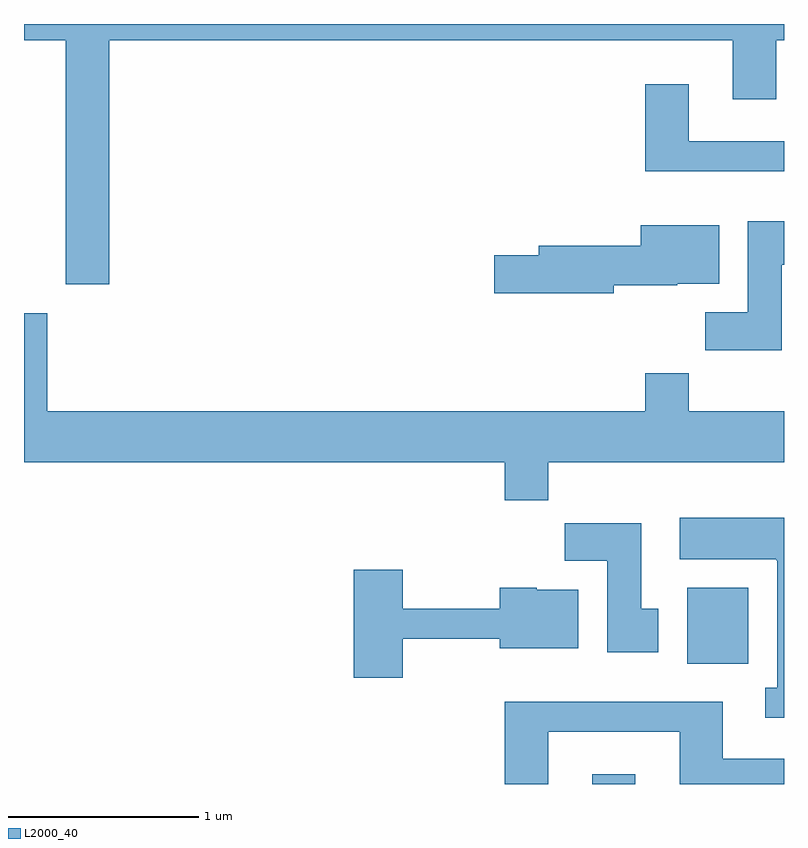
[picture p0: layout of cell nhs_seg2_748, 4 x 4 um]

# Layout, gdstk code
import gdstk
lib = gdstk.Library(unit=1e-6, precision=1e-09)
def R(c, l, rs):  # rectangles x0, y0, x1, y1
    for r in rs: c.add(gdstk.rectangle(r[:2], r[2:], *l))
def P(c, l, *ps):  # polygons
    for p in ps: c.add(gdstk.Polygon(p, *l))
L2000_40 = (2000, 40)

nhs_seg2_748 = lib.new_cell('nhs_seg2_748')
R(nhs_seg2_748, L2000_40, [(210.601,977.802,210.829,977.854), (211.101,978.436,211.424,978.834)])
P(nhs_seg2_748, L2000_40, [(208.059,981.716),(211.341,981.716),(211.341,981.406),(211.569,981.406),(211.569,981.716),(211.611,981.716),(211.611,981.802),(207.611,981.802),(207.611,981.716),(207.831,981.716),(207.831,980.431),(208.059,980.431)],
  [(211.611,981.184),(211.109,981.184),(211.109,981.484),(210.881,981.484),(210.881,981.026),(211.611,981.026)],
  [(211.599,980.536),(211.611,980.536),(211.611,980.764),(211.421,980.764),(211.421,980.284),(211.196,980.284),(211.196,980.086),(211.599,980.086)],
  [(210.714,980.426),(211.05,980.426),(211.05,980.436),(211.269,980.436),(211.269,980.744),(210.856,980.744),(210.856,980.634),(210.321,980.634),(210.321,980.584),(210.086,980.584),(210.086,980.386),(210.714,980.386)],
  [(210.369,979.496),(211.611,979.496),(211.611,979.764),(211.109,979.764),(211.109,979.964),(210.881,979.964),(210.881,979.764),(207.734,979.764),(207.734,980.279),(207.611,980.279),(207.611,979.496),(210.141,979.496),(210.141,979.296),(210.369,979.296)],
  [(211.611,979.204),(211.061,979.204),(211.061,978.986),(211.57,978.986),(211.57,978.98),(211.576,978.98),(211.576,978.309),(211.513,978.309),(211.513,978.151),(211.611,978.151)],
  [(210.949,978.724),(210.859,978.724),(210.859,979.174),(210.456,979.174),(210.456,978.976),(210.681,978.976),(210.681,978.496),(210.949,978.496)],
  [(209.604,978.566),(210.116,978.566),(210.116,978.516),(210.529,978.516),(210.529,978.824),(210.31,978.824),(210.31,978.834),(210.116,978.834),(210.116,978.724),(209.604,978.724),(209.604,978.929),(209.346,978.929),(209.346,978.361),(209.604,978.361)],
  [(210.369,978.076),(211.061,978.076),(211.061,977.802),(211.611,977.802),(211.611,977.934),(211.289,977.934),(211.289,978.234),(210.141,978.234),(210.141,977.802),(210.369,977.802)])

lib.write_gds('nhs_seg2_748.gds')
